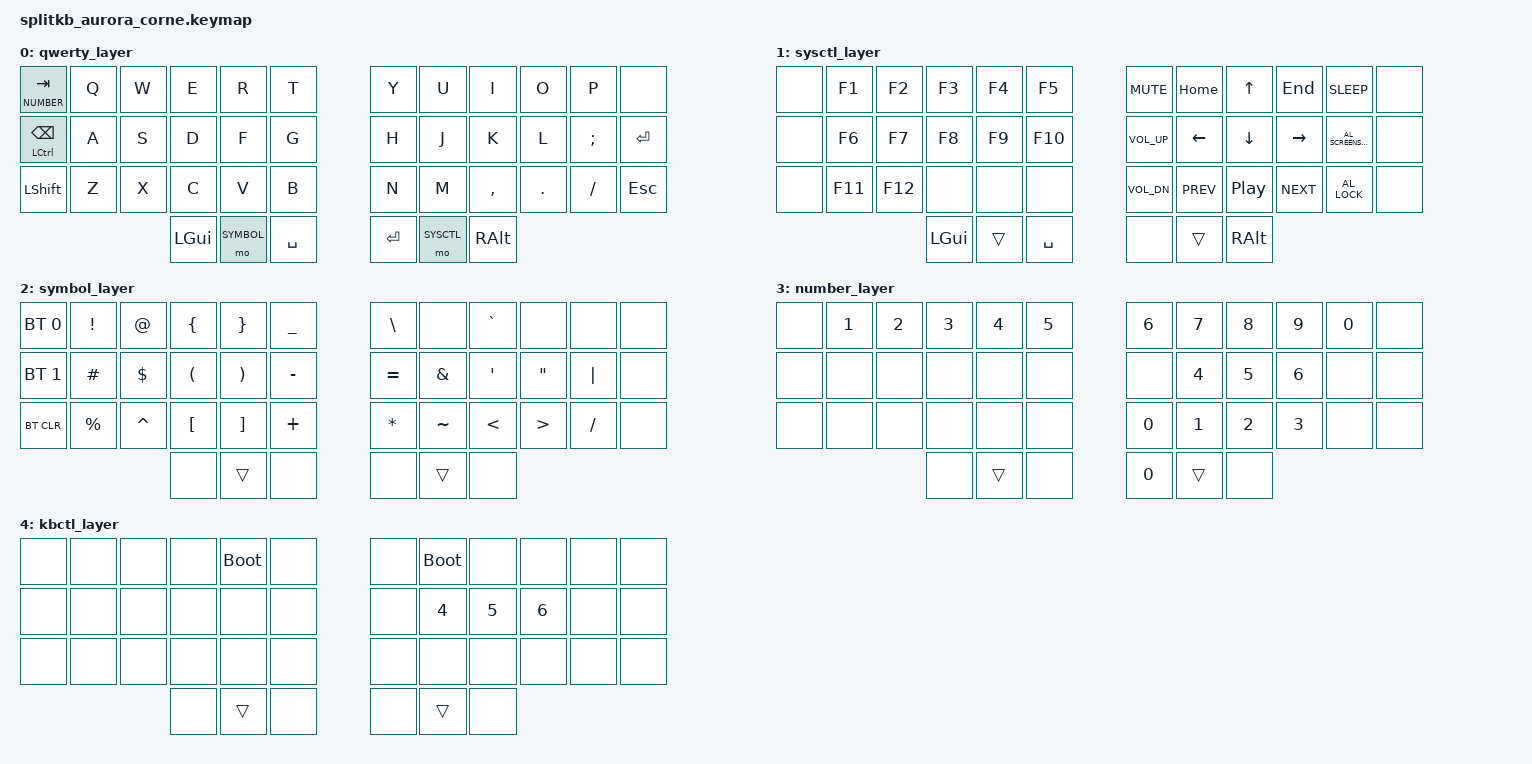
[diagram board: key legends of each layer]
#include <behaviors.dtsi>
#include <dt-bindings/zmk/bt.h>
#include <dt-bindings/zmk/keys.h>

// layers

#define QWERTY 0
#define SYSCTL 1
#define SYMBOL 2
#define NUMBER 3
#define KBCTL  4

// keys

#define HYPER LS(LC(LA(LGUI)))

/ {
    conditional_layers {
        compatible = "zmk,conditional-layers";

        tri_layer {
            if-layers = <SYSCTL SYMBOL>;
            then-layer = <KBCTL>;
        };
    };

    keymap {
        compatible = "zmk,keymap";

        qwerty_layer {
            //  ┌─────────┬───┬───┬───┬───┬───┐      ┌───┬───┬───┬───┬───┬───────┐
            //  │   TAB   │ Q │ W │ E │ R │ T │      │ Y │ U │ I │ O │ P │       │
            //  ├─────────┼───┼───┼───┼───┼───┤      ├───┼───┼───┼───┼───┼───────┤
            //  │ ESC/CTL │ A │ S │ D │ F │ G │      │ H │ J │ K │ L │ : │ ENTER │
            //  ├─────────┼───┼───┼───┼───┼───┤      ├───┼───┼───┼───┼───┼───────┤
            //  │  SHIFT  │ Z │ X │ C │ V │ B │      │ N │ M │ , │ . │ / │ SHIFT │
            //  └─────────┴┬──┴──┬┴───┴─┬─┴───┴┐   ┌─┴───┼───┴──┬┴─┬─┴───┴───────┘
            //             │ CMD │ SMBL │ BSPC │   │ SPC │ SYSC │ HPR │
            //             └─────┴──────┴──────┘   └─────┴──────┴──┘

            bindings = <
&lt NUMBER TAB       &kp Q  &kp W  &kp E     &kp R       &kp T        &kp Y      &kp U       &kp I      &kp O    &kp P     &none
&mt LCTRL BACKSPACE  &kp A  &kp S  &kp D     &kp F       &kp G        &kp H      &kp J       &kp K      &kp L    &kp SEMI  &kp ENTER
&kp LSHFT            &kp Z  &kp X  &kp C     &kp V       &kp B        &kp N      &kp M       &kp COMMA  &kp DOT  &kp FSLH  &kp ESCAPE
                                   &kp LGUI  &mo SYMBOL  &kp SPACE    &kp ENTER  &mo SYSCTL  &kp RALT
            >;
        };

        sysctl_layer {
            // |  TAB |  1  |  2  |  3  |  4  |  5  |   |  6  |  7  |  8  |  9  |  0  | BKSP |
            // | BTCLR| BT1 | BT2 | BT3 | BT4 | BT5 |   | LFT | DWN |  UP | RGT |     |      |
            // | SHFT |     |     |     |     |     |   |     |     |     |     |     |      |
            //                    | GUI |     | SPC |   | ENT |     | ALT |

            bindings = <
&none  &kp F1   &kp F2   &kp F3    &kp F4  &kp F5       &kp C_MUTE    &kp HOME    &kp UP            &kp END     &kp C_SLEEP           &none
&none  &kp F6   &kp F7   &kp F8    &kp F9  &kp F10      &kp C_VOL_UP  &kp LEFT    &kp DOWN          &kp RIGHT   &kp C_AL_SCREENSAVER  &none
&none  &kp F11  &kp F12  &none     &none   &none        &kp C_VOL_DN  &kp C_PREV  &kp C_PLAY_PAUSE  &kp C_NEXT  &kp C_AL_LOCK         &none
                         &kp LGUI  &trans  &kp SPACE    &none         &trans      &kp RALT
            >;
        };

        symbol_layer {
            // |  TAB |  1  |  2  |  3  |  4  |  5  |   |  6  |  7  |  8  |  9  |  0  | BKSP |
            // | BTCLR| BT1 | BT2 | BT3 | BT4 | BT5 |   | LFT | DWN |  UP | RGT |     |      |
            // | SHFT |     |     |     |     |     |   |     |     |     |     |     |      |
            //                    | GUI |     | SPC |   | ENT |     | ALT |
            // !@{}_ \ `
            // #$()- =&'"|
            // %^[]+ *~<>/

            bindings = <
&bt BT_SEL 0  &kp EXCL   &kp AT     &kp LBRC  &kp RBRC  &kp UNDER    &kp BSLH   &none      &kp GRAVE  &none    &none     &none
&bt BT_SEL 1  &kp HASH   &kp DLLR   &kp LPAR  &kp RPAR  &kp MINUS    &kp EQUAL  &kp AMPS   &kp SQT    &kp DQT  &kp PIPE  &none
&bt BT_CLR    &kp PRCNT  &kp CARET  &kp LBKT  &kp RBKT  &kp PLUS     &kp ASTRK  &kp TILDE  &kp LT     &kp GT   &kp FSLH  &none
                                    &none     &trans    &none        &none      &trans     &none
            >;
        };

        number_layer {
            // |  TAB |  !  |  @  |  #  |  $  |  %  |   |  ^  |  &  |  *  |  (  |  )  | BKSP |
            // | CTRL |     |     |     |     |     |   |  -  |  =  |  [  |  ]  |  \  |  `   |
            // | SHFT |     |     |     |     |     |   |  _  |  +  |  {  |  }  | "|" |  ~   |
            //                    | GUI |     | SPC |   | ENT |     | ALT |

            bindings = <
&none  &kp N1  &kp N2  &kp N3  &kp N4  &kp N5    &kp N6  &kp N7  &kp N8  &kp N9  &kp N0  &none
&none  &none   &none   &none   &none   &none     &none   &kp N4  &kp N5  &kp N6  &none   &none
&none  &none   &none   &none   &none   &none     &kp N0  &kp N1  &kp N2  &kp N3  &none   &none
                       &none   &trans  &none     &kp N0  &trans  &none
            >;
        };

        kbctl_layer {
            // |  TAB |  !  |  @  |  #  |  $  |  %  |   |  ^  |  &  |  *  |  (  |  )  | BKSP |
            // | CTRL |     |     |     |     |     |   |  -  |  =  |  [  |  ]  |  \  |  `   |
            // | SHFT |     |     |     |     |     |   |  _  |  +  |  {  |  }  | "|" |  ~   |
            //                    | GUI |     | SPC |   | ENT |     | ALT |

            bindings = <
&none  &none  &none  &none  &bootloader  &none    &none  &bootloader  &none   &none   &none  &none
&none  &none  &none  &none  &none        &none    &none  &kp N4       &kp N5  &kp N6  &none  &none
&none  &none  &none  &none  &none        &none    &none  &none        &none   &none   &none  &none
                     &none  &trans       &none    &none  &trans       &none
            >;
        };
    };
};

// home row mods
// if kbktl works, then move bt 1 2 reset there.
// game mode
// reset
// qmk flash --keyboard crkbd/rev1 --keymap pvinis
// crkbd/rev1/pvinis @ 0.13.17-94-g521b7d-dirty
//    &mt LCTRL ESC or hold-tap better?
//screenshot button
// template
//  ┌──┬──┬──┬──┬──┬──┐      ┌──┬──┬──┬──┬──┬──┐
//  │  │  │  │  │  │  │      │  │  │  │  │  │  │
//  ├──┼──┼──┼──┼──┼──┤      ├──┼──┼──┼──┼──┼──┤
//  │  │  │  │  │  │  │      │  │  │  │  │  │  │
//  ├──┼──┼──┼──┼──┼──┤      ├──┼──┼──┼──┼──┼──┤
//  │  │  │  │  │  │  │      │  │  │  │  │  │  │
//  └──┴──┴──┴─┬┴─┬┴─┬┴─┐   ┌┴─┬┴─┬┴─┬┴──┴──┴──┘
//             │  │  │  │   │  │  │  │
//             └──┴──┴──┘   └──┴──┴──┘
